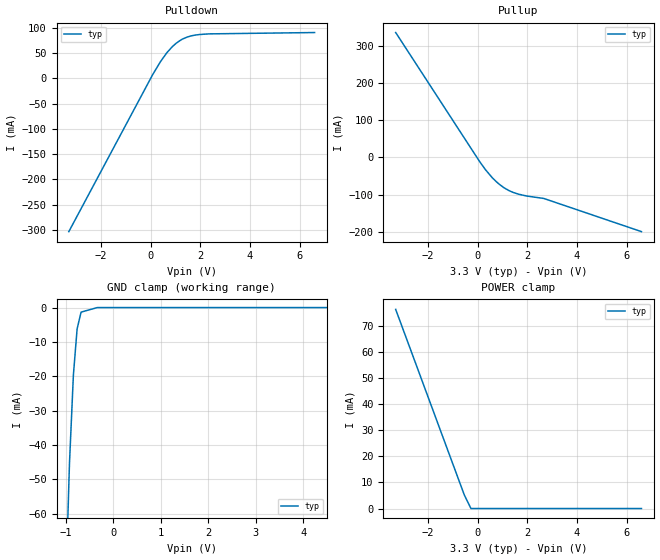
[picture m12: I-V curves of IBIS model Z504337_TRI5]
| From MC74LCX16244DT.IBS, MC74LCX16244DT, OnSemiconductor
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| (C) COPYRIGHT 1993-2000
| MENTOR GRAPHICS CORPORATION
| ICX STANDARD LIBRARY, ICX PROJECT MODELING,
| ICX CUSTOM MODELING, ICX VENDOR MODEL
| ALL RIGHTS RESERVED.
| THE FOLLOWING ARE TRADEMARKS OR SERVICE MARKS OF
| MENTOR GRAPHICS CORPORATION:ICX (R), ICX STANDARD
| LIBRARY(R), ICX PROJECT MODELING(R), ICX CUSTOM
| MODELING(R), qualityIBIS(TM), MODELVIEWER(TM),
| AND MODELEDITOR(TM)
| ALL COPIES OF SOFTWARE, INCLUDING BUT NOT LIMITED TO
| ANY MODIFICATIONS, ENHANCEMENTS OR DERIVATIVE WORKS,
| MUST CONTAIN ALL MENTOR GRAPHICS CORPORATION'S
| NOTICES AND LEGENDS, INCLUDING THOSE EMBEDDED IN
| SOFTWARE AND THOSE AFFIXED TO SOFTWARE MEDIUM
| AND CONTAINER, AS RECEIVED FROM MENTOR GRAPHICS
| CORPORATION.
| Model Application Version 1.89 2/18/99.
[Model] Z504337_TRI5
Model_type 3-state
Vref=0.000V
Rref=500.0ohms
Cref=50.00pF
Vmeas=1.500V
C_comp 8.000pF NA NA
| variable typ   min   max
[Voltage Range] 3.300V NA NA
[POWER Clamp Reference] 3.300V NA NA
[Pullup Reference] 3.300V NA NA
[Pulldown Reference] 0.000V NA NA
[GND Clamp Reference] 0.000V NA NA
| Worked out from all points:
|   slope of the pulldown table from 0 to 0.495 V, typ, clamps not added: 12.4 ohm
|   slope of the pullup table from 0 to 0.495 V, typ, clamps not added: 11.2 ohm
[GND Clamp]
-3.3V     -1.142A    NA         NA
-927.2mV  -45.42mA   NA         NA
-844.5mV  -19.67mA   NA         NA
-766.1mV  -6.211mA   NA         NA
-682.3mV  -1.327mA   NA         NA
-341.1mV  0A         NA         NA
6.6V      0A         NA         NA
[Pulldown]
-3.3V     -303.4mA   NA         NA
78.13mV   7.267mA    NA         NA
391.1mV   32.86mA    NA         NA
649.8mV   50.63mA    NA         NA
1.029V    69.53mA    NA         NA
1.455V    81.34mA    NA         NA
1.971V    86.67mA    NA         NA
6.6V      90.54mA    NA         NA
[Pullup]
-3.3V     336.7mA    NA         NA
87mV      -11.59mA   NA         NA
322mV     -33.32mA   NA         NA
595mV     -54.88mA   NA         NA
878mV     -72.39mA   NA         NA
1.069V    -81.82mA   NA         NA
1.455V    -94.72mA   NA         NA
1.886V    -102.5mA   NA         NA
2.658V    -110.2mA   NA         NA
6.6V      -199.8mA   NA         NA
[POWER Clamp]
-3.3V     76.18mA    NA         NA
-538mV    5.228mA    NA         NA
-269mV    0A         NA         NA
6.6V      0A         NA         NA
[Ramp]
| variable typ min max
dV/dt_r 1.958/223.0p NA NA
dV/dt_f 1.958/472.3p NA NA
R_load = 500.0Ohms
